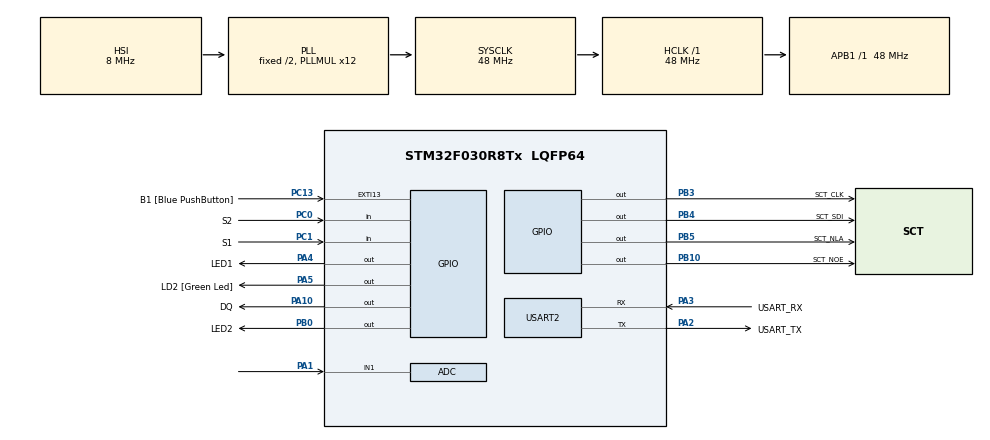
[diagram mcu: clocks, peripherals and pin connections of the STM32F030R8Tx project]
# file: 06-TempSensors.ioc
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ADC.ContinuousConvMode=ENABLE
ADC.Overrun=ADC_OVR_DATA_OVERWRITTEN
ADC.Resolution=ADC_RESOLUTION_10B
Mcu.Family=STM32F0
Mcu.Name=STM32F030R8Tx
Mcu.Package=LQFP64
PA1.Mode=IN1
PA1.Signal=ADC_IN1
PA10.GPIO_Label=DQ
PA10.GPIO_ModeDefaultOutputPP=GPIO_MODE_OUTPUT_OD
PA10.GPIO_PuPd=GPIO_NOPULL
PA10.PinState=GPIO_PIN_SET
PA10.Signal=GPIO_Output
PA13.GPIO_Label=TMS
PA13.Mode=Serial_Wire
PA13.Signal=SYS_SWDIO
PA14.GPIO_Label=TCK
PA14.Mode=Serial_Wire
PA14.Signal=SYS_SWCLK
PA2.GPIO_Label=USART_TX
PA2.GPIO_Mode=GPIO_MODE_AF_PP
PA2.GPIO_PuPd=GPIO_NOPULL
PA2.GPIO_Speed=GPIO_SPEED_FREQ_LOW
PA2.Mode=Asynchronous
PA2.Signal=USART2_TX
PA3.GPIO_Label=USART_RX
PA3.GPIO_Mode=GPIO_MODE_AF_PP
PA3.GPIO_PuPd=GPIO_NOPULL
PA3.GPIO_Speed=GPIO_SPEED_FREQ_LOW
PA3.Mode=Asynchronous
PA3.Signal=USART2_RX
PA4.GPIO_Label=LED1
PA4.Signal=GPIO_Output
PA5.GPIO_Label=LD2 [Green Led]
PA5.GPIO_Mode=GPIO_MODE_OUTPUT_PP
PA5.GPIO_PuPd=GPIO_NOPULL
PA5.GPIO_Speed=GPIO_SPEED_FREQ_LOW
PA5.Signal=GPIO_Output
PB0.GPIO_Label=LED2
PB0.Signal=GPIO_Output
PB10.GPIO_Label=SCT_NOE
PB10.Signal=GPIO_Output
PB3.GPIO_Label=SCT_CLK
PB3.Signal=GPIO_Output
PB4.GPIO_Label=SCT_SDI
PB4.Signal=GPIO_Output
PB5.GPIO_Label=SCT_NLA
PB5.Signal=GPIO_Output
PC0.GPIO_Label=S2
PC0.GPIO_PuPd=GPIO_PULLUP
PC0.Signal=GPIO_Input
PC1.GPIO_Label=S1
PC1.GPIO_PuPd=GPIO_PULLUP
PC1.Signal=GPIO_Input
PC13.GPIO_Label=B1 [Blue PushButton]
PC13.GPIO_ModeDefaultEXTI=GPIO_MODE_IT_FALLING
PC13.Signal=GPXTI13
PC14-OSC32_IN.Mode=LSE-External-Oscillator
PC14-OSC32_IN.Signal=RCC_OSC32_IN
PC15-OSC32_OUT.Mode=LSE-External-Oscillator
PC15-OSC32_OUT.Signal=RCC_OSC32_OUT
PF0-OSC_IN.Mode=HSE-External-Clock-Source
PF0-OSC_IN.Signal=RCC_OSC_IN
PF1-OSC_OUT.Signal=RCC_OSC_OUT
ProjectManager.HeapSize=0x200
ProjectManager.StackSize=0x400
ProjectManager.TargetToolchain=STM32CubeIDE
RCC.AHBFreq_Value=48000000
RCC.APB1Freq_Value=48000000
RCC.APB1TimFreq_Value=48000000
RCC.HCLKFreq_Value=48000000
RCC.PLLMUL=RCC_PLL_MUL12
RCC.SYSCLKFreq_VALUE=48000000
RCC.SYSCLKSource=RCC_SYSCLKSOURCE_PLLCLK
USART2.VirtualMode-Asynchronous=VM_ASYNC
board=NUCLEO-F030R8

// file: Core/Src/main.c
/* USER CODE BEGIN Header */
/**
  ******************************************************************************
  * @file           : main.c
  * @brief          : Main program body
  ******************************************************************************
  * @attention
  *
  * Copyright (c) 2024 STMicroelectronics.
  * All rights reserved.
  *
  * This software is licensed under terms that can be found in the LICENSE file
  * in the root directory of this software component.
  * If no LICENSE file comes with this software, it is provided AS-IS.
  *
  ******************************************************************************
  */
/* USER CODE END Header */
#include "main.h"

/* USER CODE BEGIN Includes */

#include "sct.h"
#include "1wire.h"

/* USER CODE END Includes */

/* USER CODE BEGIN PTD */

#define CONVERT_T_DELAY 750	//delay after conversion start

/* USER CODE END PTD */

ADC_HandleTypeDef hadc;

UART_HandleTypeDef huart2;

/* USER CODE BEGIN PV */

static const int16_t data[] = {
#include "data.dlm"
};

uint8_t page = 0;
uint8_t freetoconvert = 1;
uint32_t timeatconvert = 0;

/* USER CODE END PV */

void SystemClock_Config(void);
static void MX_GPIO_Init(void);
static void MX_USART2_UART_Init(void);
static void MX_ADC_Init(void);

int main(void)
{

  /* MCU Configuration--------------------------------------------------------*/

  /* Reset of all peripherals, Initializes the Flash interface and the Systick. */
  HAL_Init();

  /* Configure the system clock */
  SystemClock_Config();

  /* Initialize all configured peripherals */
  MX_GPIO_Init();
  MX_USART2_UART_Init();
  MX_ADC_Init();
  /* USER CODE BEGIN 2 */

  sct_init();	//sct library initialization
  OWInit();

  HAL_ADCEx_Calibration_Start(&hadc);
  HAL_ADC_Start(&hadc);

  /* USER CODE END 2 */

  /* Infinite loop */
  /* USER CODE BEGIN WHILE */
  while (1)
  {

	  if (!HAL_GPIO_ReadPin(S2_GPIO_Port, S2_Pin))
	  {
		  page = 0;
	  }

	  if (!HAL_GPIO_ReadPin(S1_GPIO_Port, S1_Pin))
	  {
		  page = 1;
	  }

	  if (page == 0)
	  {
		  HAL_GPIO_WritePin(LED1_GPIO_Port, LED1_Pin, SET);
		  HAL_GPIO_WritePin(LED2_GPIO_Port, LED2_Pin, RESET);

		  uint32_t value = HAL_ADC_GetValue(&hadc);

		  sct_value(data[value], 4);
		  HAL_Delay(100);
	  }

	  if (page == 1)
	  {
		  HAL_GPIO_WritePin(LED1_GPIO_Port, LED1_Pin, RESET);
		  HAL_GPIO_WritePin(LED2_GPIO_Port, LED2_Pin, SET);

		  if (freetoconvert == 1)
		  {
			  OWConvertAll();
			  freetoconvert = 0;
			  timeatconvert = HAL_GetTick();
		  }

		  //HAL_Delay(CONVERT_T_DELAY);

		  int16_t temp_18b20;

		  if ((HAL_GetTick() - timeatconvert) > CONVERT_T_DELAY)
		  {
			  uint8_t status = OWReadTemperature(&temp_18b20);

			  if (status != 0)
			  {
				  sct_value(temp_18b20 / 10, 8);
			  }

			  freetoconvert = 1;
		  }
	  }

    /* USER CODE END WHILE */

  }
}

void SystemClock_Config(void)
{
  RCC_OscInitTypeDef RCC_OscInitStruct = {0};
  RCC_ClkInitTypeDef RCC_ClkInitStruct = {0};

  /** Initializes the RCC Oscillators according to the specified parameters
  * in the RCC_OscInitTypeDef structure.
  */
  RCC_OscInitStruct.OscillatorType = RCC_OSCILLATORTYPE_HSI|RCC_OSCILLATORTYPE_HSI14;
  RCC_OscInitStruct.HSIState = RCC_HSI_ON;
  RCC_OscInitStruct.HSI14State = RCC_HSI14_ON;
  RCC_OscInitStruct.HSICalibrationValue = RCC_HSICALIBRATION_DEFAULT;
  RCC_OscInitStruct.HSI14CalibrationValue = 16;
  RCC_OscInitStruct.PLL.PLLState = RCC_PLL_ON;
  RCC_OscInitStruct.PLL.PLLSource = RCC_PLLSOURCE_HSI;
  RCC_OscInitStruct.PLL.PLLMUL = RCC_PLL_MUL12;
  RCC_OscInitStruct.PLL.PREDIV = RCC_PREDIV_DIV1;
  if (HAL_RCC_OscConfig(&RCC_OscInitStruct) != HAL_OK)
  {
    Error_Handler();
  }

  /** Initializes the CPU, AHB and APB buses clocks
  */
  RCC_ClkInitStruct.ClockType = RCC_CLOCKTYPE_HCLK|RCC_CLOCKTYPE_SYSCLK
                              |RCC_CLOCKTYPE_PCLK1;
  RCC_ClkInitStruct.SYSCLKSource = RCC_SYSCLKSOURCE_PLLCLK;
  RCC_ClkInitStruct.AHBCLKDivider = RCC_SYSCLK_DIV1;
  RCC_ClkInitStruct.APB1CLKDivider = RCC_HCLK_DIV1;

  if (HAL_RCC_ClockConfig(&RCC_ClkInitStruct, FLASH_LATENCY_1) != HAL_OK)
  {
    Error_Handler();
  }
}

static void MX_ADC_Init(void)
{

  ADC_ChannelConfTypeDef sConfig = {0};

  /** Configure the global features of the ADC (Clock, Resolution, Data Alignment and number of conversion)
  */
  hadc.Instance = ADC1;
  hadc.Init.ClockPrescaler = ADC_CLOCK_ASYNC_DIV1;
  hadc.Init.Resolution = ADC_RESOLUTION_10B;
  hadc.Init.DataAlign = ADC_DATAALIGN_RIGHT;
  hadc.Init.ScanConvMode = ADC_SCAN_DIRECTION_FORWARD;
  hadc.Init.EOCSelection = ADC_EOC_SINGLE_CONV;
  hadc.Init.LowPowerAutoWait = DISABLE;
  hadc.Init.LowPowerAutoPowerOff = DISABLE;
  hadc.Init.ContinuousConvMode = ENABLE;
  hadc.Init.DiscontinuousConvMode = DISABLE;
  hadc.Init.ExternalTrigConv = ADC_SOFTWARE_START;
  hadc.Init.ExternalTrigConvEdge = ADC_EXTERNALTRIGCONVEDGE_NONE;
  hadc.Init.DMAContinuousRequests = DISABLE;
  hadc.Init.Overrun = ADC_OVR_DATA_OVERWRITTEN;
  if (HAL_ADC_Init(&hadc) != HAL_OK)
  {
    Error_Handler();
  }

  /** Configure for the selected ADC regular channel to be converted.
  */
  sConfig.Channel = ADC_CHANNEL_1;
  sConfig.Rank = ADC_RANK_CHANNEL_NUMBER;
  sConfig.SamplingTime = ADC_SAMPLETIME_1CYCLE_5;
  if (HAL_ADC_ConfigChannel(&hadc, &sConfig) != HAL_OK)
  {
    Error_Handler();
  }

}

static void MX_USART2_UART_Init(void)
{

  huart2.Instance = USART2;
  huart2.Init.BaudRate = 38400;
  huart2.Init.WordLength = UART_WORDLENGTH_8B;
  huart2.Init.StopBits = UART_STOPBITS_1;
  huart2.Init.Parity = UART_PARITY_NONE;
  huart2.Init.Mode = UART_MODE_TX_RX;
  huart2.Init.HwFlowCtl = UART_HWCONTROL_NONE;
  huart2.Init.OverSampling = UART_OVERSAMPLING_16;
  huart2.Init.OneBitSampling = UART_ONE_BIT_SAMPLE_DISABLE;
  huart2.AdvancedInit.AdvFeatureInit = UART_ADVFEATURE_NO_INIT;
  if (HAL_UART_Init(&huart2) != HAL_OK)
  {
    Error_Handler();
  }

}

static void MX_GPIO_Init(void)
{
  GPIO_InitTypeDef GPIO_InitStruct = {0};

  /* GPIO Ports Clock Enable */
  __HAL_RCC_GPIOC_CLK_ENABLE();
  __HAL_RCC_GPIOF_CLK_ENABLE();
  __HAL_RCC_GPIOA_CLK_ENABLE();
  __HAL_RCC_GPIOB_CLK_ENABLE();

  /*Configure GPIO pin Output Level */
  HAL_GPIO_WritePin(GPIOA, LED1_Pin|LD2_Pin, GPIO_PIN_RESET);

  /*Configure GPIO pin Output Level */
  HAL_GPIO_WritePin(GPIOB, LED2_Pin|SCT_NOE_Pin|SCT_CLK_Pin|SCT_SDI_Pin
                          |SCT_NLA_Pin, GPIO_PIN_RESET);

  /*Configure GPIO pin Output Level */
  HAL_GPIO_WritePin(DQ_GPIO_Port, DQ_Pin, GPIO_PIN_SET);

  /*Configure GPIO pin : B1_Pin */
  GPIO_InitStruct.Pin = B1_Pin;
  GPIO_InitStruct.Mode = GPIO_MODE_IT_FALLING;
  GPIO_InitStruct.Pull = GPIO_NOPULL;
  HAL_GPIO_Init(B1_GPIO_Port, &GPIO_InitStruct);

  /*Configure GPIO pins : S2_Pin S1_Pin */
  GPIO_InitStruct.Pin = S2_Pin|S1_Pin;
  GPIO_InitStruct.Mode = GPIO_MODE_INPUT;
  GPIO_InitStruct.Pull = GPIO_PULLUP;
  HAL_GPIO_Init(GPIOC, &GPIO_InitStruct);

  /*Configure GPIO pins : LED1_Pin LD2_Pin */
  GPIO_InitStruct.Pin = LED1_Pin|LD2_Pin;
  GPIO_InitStruct.Mode = GPIO_MODE_OUTPUT_PP;
  GPIO_InitStruct.Pull = GPIO_NOPULL;
  GPIO_InitStruct.Speed = GPIO_SPEED_FREQ_LOW;
  HAL_GPIO_Init(GPIOA, &GPIO_InitStruct);

  /*Configure GPIO pins : LED2_Pin SCT_NOE_Pin SCT_CLK_Pin SCT_SDI_Pin
                           SCT_NLA_Pin */
  GPIO_InitStruct.Pin = LED2_Pin|SCT_NOE_Pin|SCT_CLK_Pin|SCT_SDI_Pin
                          |SCT_NLA_Pin;
  GPIO_InitStruct.Mode = GPIO_MODE_OUTPUT_PP;
  GPIO_InitStruct.Pull = GPIO_NOPULL;
  GPIO_InitStruct.Speed = GPIO_SPEED_FREQ_LOW;
  HAL_GPIO_Init(GPIOB, &GPIO_InitStruct);

  /*Configure GPIO pin : DQ_Pin */
  GPIO_InitStruct.Pin = DQ_Pin;
  GPIO_InitStruct.Mode = GPIO_MODE_OUTPUT_OD;
  GPIO_InitStruct.Pull = GPIO_NOPULL;
  GPIO_InitStruct.Speed = GPIO_SPEED_FREQ_LOW;
  HAL_GPIO_Init(DQ_GPIO_Port, &GPIO_InitStruct);

}

void Error_Handler(void)
{
  __disable_irq();
  while (1)
  {
  }
}
